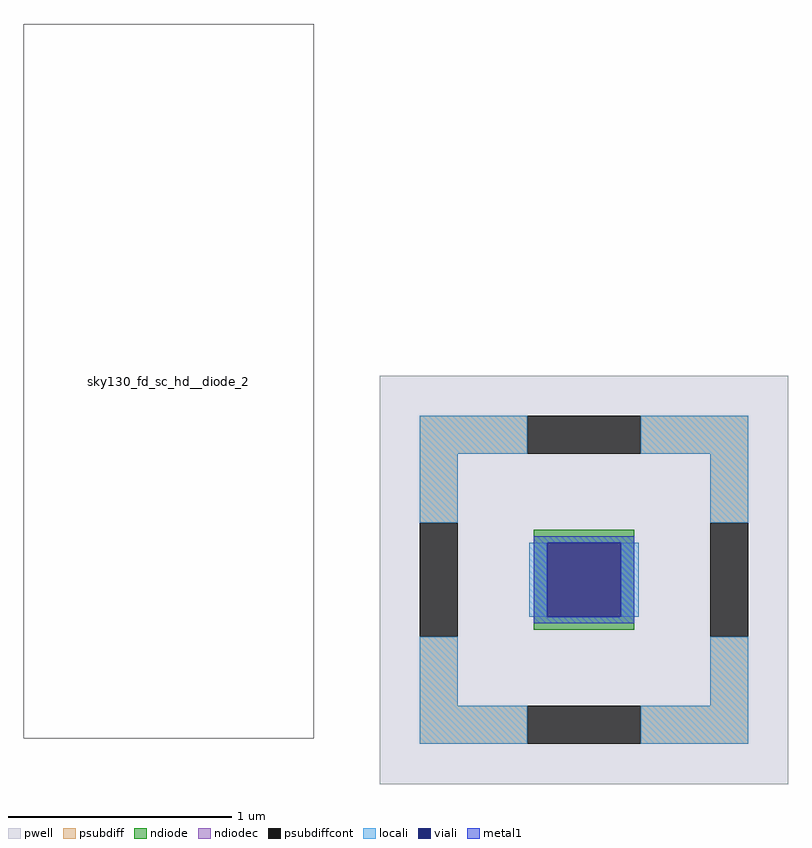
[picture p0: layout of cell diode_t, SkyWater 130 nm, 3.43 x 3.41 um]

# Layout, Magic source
magic
tech sky130A
magscale 1 2
use sky130_fd_pr__diode_pw2nd_05v5_FT76RJ  sky130_fd_pr__diode_pw2nd_05v5_FT76RJ_0
transform 1 0 464 0 1 94
box -183 -183 183 183
use sky130_fd_sc_hd__diode_2  sky130_fd_sc_hd__diode_2_0 $PDKPATH/libs.ref/sky130_fd_sc_hd/mag
transform 1 0 0 0 1 0
box -38 -48 222 592
<< end >>

# cell sky130_fd_pr__diode_pw2nd_05v5_FT76RJ: kit device sky130_fd_pr__diode_pw2nd_05v5, w 0.45 l 0.45 area 202.5m peri 1.8 nx 1 ny 1 dummy 0 lmin 0.45 wmin 0.45 elc 1 erc 1 etc 1 ebc 1 doverlap 0 compatible {sky130_fd_pr__diode_pw2nd_05v5 sky130_fd_pr__diode_pw2nd_05v5_lvt sky130_fd_pr__diode_pw2nd_05v5_nvt sky130_fd_pr__diode_pw2nd_11v0} full_metal 1 vias 1 viagb 0 viagt 0 viagl 0 viagr 0
